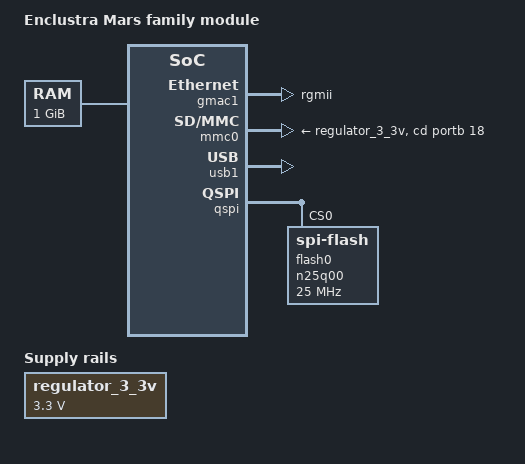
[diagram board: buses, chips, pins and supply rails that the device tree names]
/*
 *  Copyright (C) 2012 Altera Corporation <www.altera.com>
 *
 * SPDX-License-Identifier:	GPL-2.0+
 */

#include "socfpga_cyclone5.dtsi"

/ {
	model = "Enclustra Mars family module";
	compatible = "altr,socfpga-cyclone5", "altr,socfpga";

	chosen {
		bootargs = "console=ttyS0,115200";
	};

	memory {
		name = "memory";
		device_type = "memory";
		reg = <0x0 0x40000000>; /* 1GB */
	};

	aliases {
		/* this allow the ethaddr uboot environmnet variable contents
		 * to be added to the gmac1 device tree blob.
		 */
		ethernet0 = &gmac1;
		spi0 = "/spi@ff705000";		/* QSPI */
		spi1 = "/spi@fff00000";
		spi2 = "/spi@fff01000";
	};

	regulator_3_3v: 3-3-v-regulator {
		compatible = "regulator-fixed";
		regulator-name = "3.3V";
		regulator-min-microvolt = <3300000>;
		regulator-max-microvolt = <3300000>;
	};

	soc {
		u-boot,dm-pre-reloc;
	};
};

&gmac1 {
	status = "okay";
	phy-mode = "rgmii";

	rxd0-skew-ps = <60>;
	rxd1-skew-ps = <60>;
	rxd2-skew-ps = <0>;
	rxd3-skew-ps = <60>;
	txen-skew-ps = <0>;
	txc-skew-ps = <1800>;
	rxdv-skew-ps = <0>;
	rxc-skew-ps = <1800>;
};

&gpio0 {
	status = "okay";
};

&gpio1 {
	status = "okay";
};

&mmc0 {
	u-boot,dm-pre-reloc;
	status = "okay";

	cd-gpios = <&portb 18 0>;
	vmmc-supply = <&regulator_3_3v>;
	vqmmc-supply = <&regulator_3_3v>;
};

&usb1 {
	status = "okay";
};

&qspi {
	u-boot,dm-pre-reloc;
	status = "okay";

	flash0: n25q00@0 {
		u-boot,dm-pre-reloc;
		#address-cells = <1>;
		#size-cells = <1>;
		compatible = "spi-flash";
		reg = <0>;      /* chip select */
		spi-max-frequency = <25000000>;
		m25p,fast-read;
		page-size = <256>;
		block-size = <16>; /* 2^16, 64KB */
		read-delay = <4>;  /* delay value in read data capture register */
		tshsl-ns = <50>;
		tsd2d-ns = <50>;
		tchsh-ns = <4>;
		tslch-ns = <4>;
	};
};
